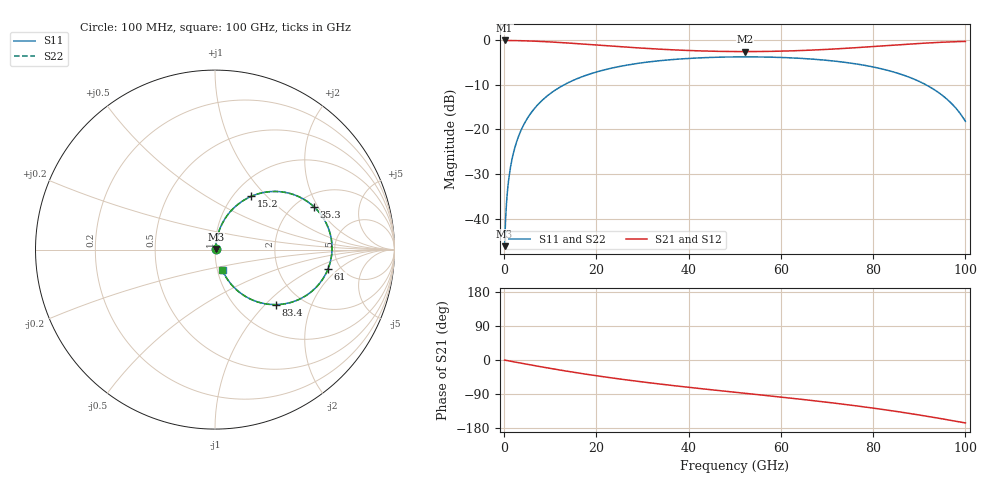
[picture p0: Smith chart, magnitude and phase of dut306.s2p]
! Touchstone file exported from HFSS 2026.1.0
!  File:  C:/ffzhzh/LocalFiles/Ansys_Project_Files/temp_train_RDL_306_1783502447_55944.aedt
!  Generated:  05:22:13 PM Jul  8, 2026
!  Design:  RDL
!  Project:  temp_train_RDL_306_1783502447_55944
! Variables:
!  h_bsmrdl = 2um
!  h_ox = 20um
!  h_rdl = 5um
!  h_sub = 80um
!  h_tmrdl = 3.06um
!  h_tsv = 80um
!  h_via = 3um
!  l_bsmrdl = 300um
!  l_sub = 955.87um
!  l_tmrdl = 555.87um
!  m_sub = 200um
!  pitch = 50.56um
!  r_tsv = 6um
!  s_tmrdl = 10um
!  w_bsmrdl = 18um
!  w_sub = 500um
!  w_tmrdl = 16.7um
!  x_tsv_center1 = 564.22um
!  x_tsv_center2 = 882.22um
!  x_tsv_center3 = 1454.79um
!  x_tsv_center4 = 1772.79um
!  x_tsv_center5 = 2345.36um
!  x_tsv_center6 = 2663.36um
# GHz S MA R 50.000000
! Terminal data exported
! Port[1] = TM_RDL1_1_T1
! Port[2] = TM_RDL1_1_T2
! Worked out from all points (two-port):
!   1000 points, 100 MHz to 100 GHz, reference 50 ohm
!   highest |S21| = -0.03 dB at 100 MHz (marker M1); lowest = -2.5 dB at 52.2 GHz (marker M2)
!   |S21| within 3 dB of the highest: start of sweep to end of sweep
!   lowest |S11| = -46.2 dB at 100 MHz (marker M3), VSWR 1.01, Z = 50.4 + j0.288 ohm
!   |S11| at or under -10 dB: start of sweep to 12.97 GHz; 91.49 GHz to end of sweep
!   |S22| runs from -46.2 to -3.7 dB; largest |S21 - S12| = 1.7e-14
!   S11 on the Smith chart (normalised r, x): 100 MHz: 1.01, +0.01; 15.2 GHz: 1.20, +0.82; 35.3 GHz: 2.48, +1.85; 61 GHz: 4.00, -1.44; 83.4 GHz: 1.49, -1.15; 100 GHz: 1.06, -0.25
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0.1  0.004909 35.6  0.996 -0.2  0.996 -0.2  0.004909 35.6
! Gamma 0 0 0 0
! Port Impedance 50 0 50 0
0.9  0.0251 77.1  0.995 -2.1  0.995 -2.1  0.0251 77.1
1.4  0.03828 79.4  0.9943 -3.2  0.9943 -3.2  0.03828 79.4
2.4  0.06474 79.8  0.9927 -5.5  0.9927 -5.5  0.06474 79.8
3.8  0.1015 78.1  0.9891 -8.7  0.9891 -8.7  0.1015 78.1
5.8  0.1526 74.4  0.9816 -13.1  0.9816 -13.1  0.1526 74.4
8.3  0.2135 69.3  0.969 -18.6  0.969 -18.6  0.2135 69.3
15.2  0.3597 55.7  0.9224 -32.6  0.9224 -32.6  0.3597 55.7
16.8  0.3886 52.7  0.9104 -35.7  0.9104 -35.7  0.3886 52.7
24.4  0.5013 39.6  0.8533 -49.1  0.8533 -49.1  0.5013 39.6
33.4  0.5881 26.0  0.797 -62.9  0.797 -62.9  0.5881 26.0
35.3  0.601 23.4  0.7875 -65.6  0.7875 -65.6  0.601 23.3
50.1  0.6513 4.2  0.7477 -85.2  0.7477 -85.2  0.6513 4.1
52.2  0.6522 1.5  0.7471 -87.9  0.7471 -87.9  0.6521 1.5
61  0.6393 -9.6  0.7579 -99.2  0.7579 -99.2  0.6392 -9.6
66.7  0.6158 -17.0  0.7764 -106.8  0.7764 -106.8  0.6158 -17.1
75.9  0.5475 -30.2  0.8239 -120.3  0.8239 -120.3  0.5474 -30.2
83.4  0.4567 -42.1  0.8747 -132.8  0.8747 -132.8  0.4567 -42.2
88.9  0.3662 -51.8  0.9139 -143.0  0.9139 -143.0  0.3661 -51.9
93.4  0.2764 -59.9  0.9428 -152.0  0.9428 -152.0  0.2764 -60.1
96.9  0.1979 -66.0  0.9607 -159.4  0.9607 -159.4  0.1978 -66.2
100  0.1235 -70.1  0.9718 -166.1  0.9718 -166.1  0.1233 -70.4
